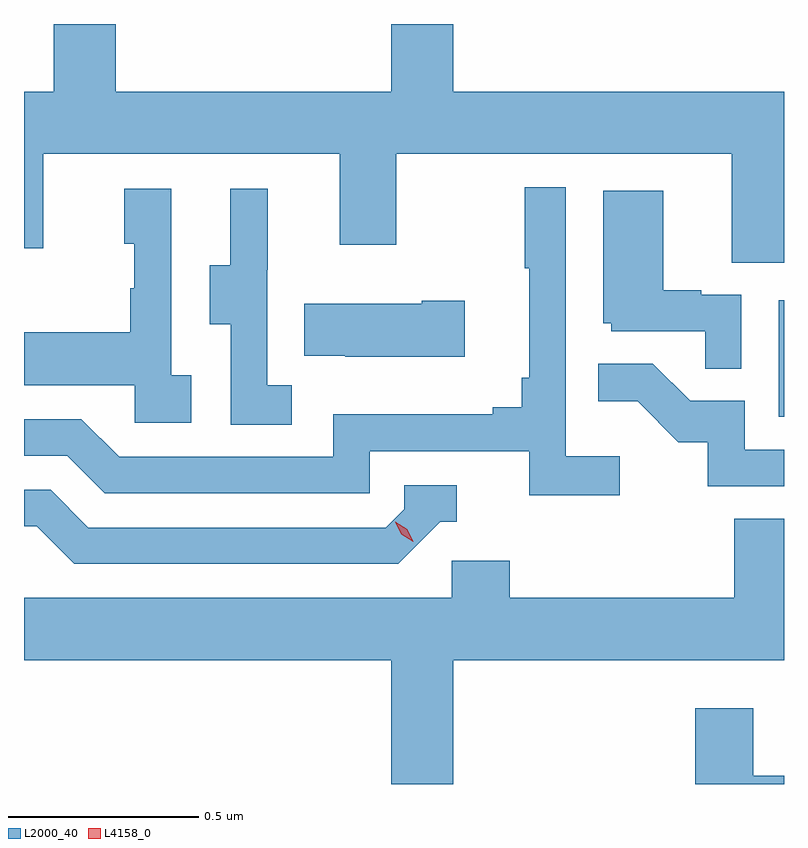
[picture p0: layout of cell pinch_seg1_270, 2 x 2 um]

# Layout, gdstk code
import gdstk
lib = gdstk.Library(unit=1e-6, precision=1e-09)
def R(c, l, rs):  # rectangles x0, y0, x1, y1
    for r in rs: c.add(gdstk.rectangle(r[:2], r[2:], *l))
def P(c, l, *ps):  # polygons
    for p in ps: c.add(gdstk.Polygon(p, *l))
L2000_40 = (2000, 40)
L4158_0 = (4158, 0)

pinch_seg1_270 = lib.new_cell('pinch_seg1_270')
R(pinch_seg1_270, L2000_40, [(945.248,573.684,945.262,573.991)])
P(pinch_seg1_270, L2000_40, [(945.262,574.54),(944.392,574.54),(944.392,574.718),(944.228,574.718),(944.228,574.54),(943.504,574.54),(943.504,574.718),(943.34,574.718),(943.34,574.54),(943.262,574.54),(943.262,574.128),(943.313,574.128),(943.313,574.376),(944.093,574.376),(944.093,574.137),(944.241,574.137),(944.241,574.376),(945.125,574.376),(945.125,574.09),(945.262,574.09)],
  [(944.83,573.58),(944.688,573.58),(944.688,574.288),(944.58,574.288),(944.58,574.075),(944.591,574.075),(944.591,573.787),(944.572,573.787),(944.572,573.71),(944.495,573.71),(944.495,573.691),(944.076,573.691),(944.076,573.579),(943.512,573.579),(943.413,573.678),(943.262,573.678),(943.262,573.582),(943.376,573.582),(943.475,573.483),(944.172,573.483),(944.172,573.594),(944.591,573.594),(944.591,573.478),(944.83,573.478)],
  [(943.702,573.794),(943.65,573.794),(943.65,574.285),(943.526,574.285),(943.526,574.14),(943.552,574.14),(943.552,574.022),(943.542,574.022),(943.542,573.907),(943.262,573.907),(943.262,573.767),(943.554,573.767),(943.554,573.669),(943.702,573.669)],
  [(943.966,573.767),(943.902,573.767),(943.902,574.071),(943.904,574.071),(943.904,574.285),(943.805,574.285),(943.805,574.083),(943.751,574.083),(943.751,573.928),(943.806,573.928),(943.806,573.664),(943.966,573.664)],
  [(945.15,574.005),(945.044,574.005),(945.044,574.018),(944.944,574.018),(944.944,574.279),(944.786,574.279),(944.786,573.93),(944.808,573.93),(944.808,573.909),(945.055,573.909),(945.055,573.811),(945.15,573.811)],
  [(944.422,573.99),(944.309,573.99),(944.309,573.982),(943.999,573.982),(943.999,573.845),(944.107,573.845),(944.107,573.842),(944.422,573.842)],
  [(945.262,573.597),(945.159,573.597),(945.159,573.726),(945.015,573.726),(944.917,573.824),(944.773,573.824),(944.773,573.725),(944.877,573.725),(944.984,573.618),(945.061,573.618),(945.061,573.501),(945.262,573.501)],
  [(944.358,573.408),(944.401,573.408),(944.401,573.504),(944.262,573.504),(944.262,573.441),(944.214,573.393),(943.431,573.393),(943.332,573.492),(943.262,573.492),(943.262,573.396),(943.295,573.396),(943.394,573.297),(944.247,573.297)],
  [(944.392,573.044),(945.262,573.044),(945.262,573.416),(945.131,573.416),(945.131,573.208),(944.54,573.208),(944.54,573.306),(944.388,573.306),(944.388,573.208),(943.262,573.208),(943.262,573.044),(944.228,573.044),(944.228,572.718),(944.392,572.718)],
  [(945.262,572.74),(945.181,572.74),(945.181,572.917),(945.029,572.917),(945.029,572.718),(945.262,572.718)])
P(pinch_seg1_270, L4158_0, [(944.286,573.356),(944.255,573.375),(944.239,573.407),(944.239,573.408),(944.239,573.408),(944.27,573.388),(944.286,573.356),(944.286,573.356)])

lib.write_gds('pinch_seg1_270.gds')
